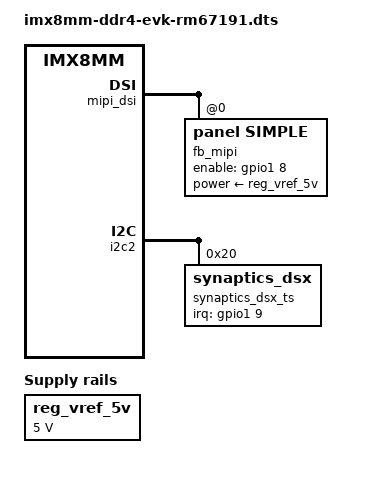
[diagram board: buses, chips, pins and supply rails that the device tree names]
// SPDX-License-Identifier: (GPL-2.0+ OR MIT)
/*
 * Copyright 2019,2021 NXP
 */

#include "imx8mm-ddr4-evk.dts"
#include "panel-raydium-rm67191.dtsi"
#include "panel-ltk080a60a004t.dtsi"

&iomuxc {
	pinctrl_mipi_ltk080a60a004t: mipi-ltk080a60a004tgrp {
		fsl,pins = <
#define GP_LTK08_MIPI_EN	<&gpio1 8 GPIO_ACTIVE_HIGH>
			MX8MM_IOMUXC_GPIO1_IO08_GPIO1_IO8	0x116
		>;
	};
};

/ {
	reg_vref_5v: regulator-vref-5v {
		compatible = "regulator-fixed";
		regulator-name = "vref-5v";
		regulator-min-microvolt = <5000000>;
		regulator-max-microvolt = <5000000>;
	};

};

&adv_bridge {
	status = "disabled";
};

&mipi_dsi {
	assigned-clocks = <&clk IMX8MM_CLK_DSI_CORE>,
			  <&clk IMX8MM_CLK_DSI_PHY_REF>,
			  <&clk IMX8MM_VIDEO_PLL1_REF_SEL>,
			  <&clk IMX8MM_CLK_LCDIF_PIXEL>;
	assigned-clock-parents = <&clk IMX8MM_SYS_PLL1_266M>,
				 <&clk IMX8MM_VIDEO_PLL1_OUT>,
				 <&clk IMX8MM_CLK_24M>;
	assigned-clock-rates = <266000000>, <0>, <0>, <66000000>;
	clocks = <&clk IMX8MM_CLK_DSI_CORE>,
		 <&clk IMX8MM_CLK_DSI_PHY_REF>,
		 <&clk IMX8MM_CLK_LCDIF_PIXEL>;
	clock-names = "cfg", "pll-ref", "pixel_clock";

	fb_mipi: panel@0 {
		bits-per-color = <8>;
		bridge-de-active = <0>;
		bridge-sync-active = <1>;
		bus-format = "rgb888";
		dsi-format = "rgb888";
		dsi-lanes = <4>;
		pinctrl-names = "default";
		pinctrl-0 = <&pinctrl_mipi_dsi_en>;
#if 1
#define RM67191
#endif
#ifdef RM67191
		mipi-cmds = <&mipi_cmds_rm67191>;
#else
		mipi-cmds = <&mipi_cmds_ltk080a60a004t>;
#endif

		mode-skip-eot;
		mode-video;
#if 1
		mode-video-burst;
#else
		mode-video-sync-pulse;
#endif
		panel-width-mm = <68>;
		panel-height-mm = <121>;
		power-supply = <&reg_vref_5v>;
		reg = <0>;
		spwg;

		display-timings {
#ifdef RM67191
			/* OLED rm67191 */
			t_mipi: t-dsi-default {
				clock-frequency = <118800000>;
				hactive = <1080>;
				vactive = <1920>;
				hback-porch = <34>;
				hfront-porch = <20>;
				vback-porch = <4>;
				vfront-porch = <10>;
				hsync-len = <2>;
				vsync-len = <2>;
				hsync-active = <0>;
				vsync-active = <0>;
				de-active = <1>;
			};
#else
			/* ltk080a60a004t */
			t_mipi: t-dsi-default {
				clock-frequency = <120000000>;
				hactive = <1200>;
				vactive = <1920>;
				hback-porch = <60>;
				hfront-porch = <42>;
				vback-porch = <25>;
				vfront-porch = <35>;
				hsync-len = <1>;
				vsync-len = <1>;
				hsync-active = <0>;
				vsync-active = <0>;
				de-active = <1>;
			};
#endif
		};
	};
};

#if 0
&fb_mipi {
	compatible = "raydium,rm67191";
	video-mode = <2>;	/* 0: burst mode
				 * 1: non-burst mode with sync event
				 * 2: non-burst mode with sync pulse
				 */
	reset-gpios = <&gpio1 8 GPIO_ACTIVE_HIGH>;
};
#else
&fb_mipi {
	compatible = "panel,simple";
#if 0
	reset-gpios = <&gpio1 8 GPIO_ACTIVE_LOW>;
#else
	enable-gpios = <&gpio1 8 GPIO_ACTIVE_HIGH>;
#endif
};
#endif

&i2c2 {
	synaptics_dsx_ts: synaptics_dsx_ts@20 {
		compatible = "synaptics_dsx";
		reg = <0x20>;
		pinctrl-names = "default";
		pinctrl-0 = <&pinctrl_i2c2_synaptics_dsx_io>;
		interrupt-parent = <&gpio1>;
		interrupts = <9 IRQ_TYPE_LEVEL_LOW>;
		synaptics,diagonal-rotation;
		status = "okay";
	};
};
